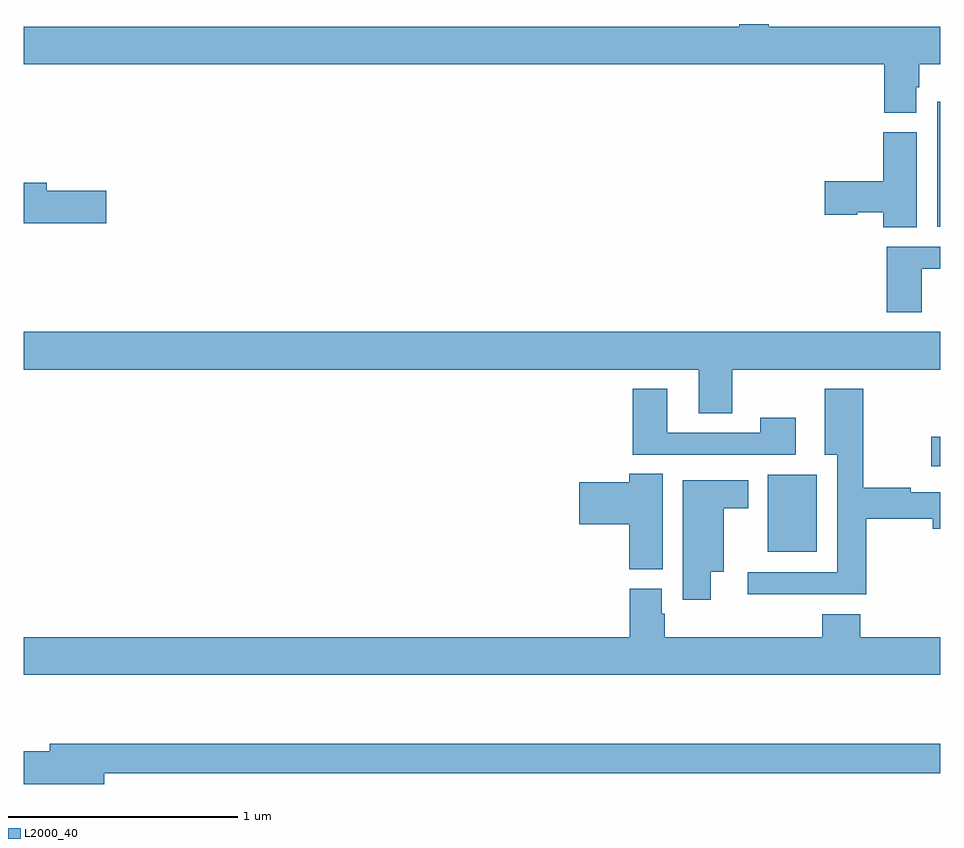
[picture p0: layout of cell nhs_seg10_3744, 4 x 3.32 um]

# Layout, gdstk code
import gdstk
lib = gdstk.Library(unit=1e-6, precision=1e-09)
def R(c, l, rs):  # rectangles x0, y0, x1, y1
    for r in rs: c.add(gdstk.rectangle(r[:2], r[2:], *l))
def P(c, l, *ps):  # polygons
    for p in ps: c.add(gdstk.Polygon(p, *l))
L2000_40 = (2000, 40)

nhs_seg10_3744 = lib.new_cell('nhs_seg10_3744')
R(nhs_seg10_3744, L2000_40, [(318.248,1290.197,318.46,1290.532), (318.96,1290.569,319,1290.699), (318.986,1291.616,319,1292.161)])
P(nhs_seg10_3744, L2000_40, [(318.895,1292.223),(318.908,1292.223),(318.908,1292.324),(319,1292.324),(319,1292.488),(318.251,1292.488),(318.251,1292.5),(318.123,1292.5),(318.123,1292.488),(315,1292.488),(315,1292.324),(318.755,1292.324),(318.755,1292.113),(318.895,1292.113)],
  [(318.898,1292.028),(318.752,1292.028),(318.752,1291.814),(318.495,1291.814),(318.495,1291.667),(318.638,1291.667),(318.638,1291.679),(318.752,1291.679),(318.752,1291.612),(318.898,1291.612)],
  [(315.361,1291.772),(315.1,1291.772),(315.1,1291.808),(315,1291.808),(315,1291.63),(315.361,1291.63)],
  [(318.919,1291.431),(319,1291.431),(319,1291.527),(318.767,1291.527),(318.767,1291.242),(318.919,1291.242)],
  [(318.093,1290.992),(319,1290.992),(319,1291.156),(315,1291.156),(315,1290.992),(317.945,1290.992),(317.945,1290.802),(318.093,1290.802)],
  [(318.37,1290.781),(318.214,1290.781),(318.214,1290.717),(317.809,1290.717),(317.809,1290.907),(317.657,1290.907),(317.657,1290.621),(318.37,1290.621)],
  [(318.677,1290.34),(318.968,1290.34),(318.968,1290.298),(319,1290.298),(319,1290.456),(318.872,1290.456),(318.872,1290.476),(318.664,1290.476),(318.664,1290.907),(318.497,1290.907),(318.497,1290.62),(318.551,1290.62),(318.551,1290.108),(318.159,1290.108),(318.159,1290.011),(318.677,1290.011)],
  [(317.788,1290.536),(317.642,1290.536),(317.642,1290.5),(317.424,1290.5),(317.424,1290.317),(317.642,1290.317),(317.642,1290.121),(317.788,1290.121)],
  [(317.998,1290.11),(318.055,1290.11),(318.055,1290.386),(318.163,1290.386),(318.163,1290.508),(317.876,1290.508),(317.876,1289.988),(317.998,1289.988)],
  [(319,1289.824),(318.65,1289.824),(318.65,1289.923),(318.485,1289.923),(318.485,1289.824),(317.798,1289.824),(317.798,1289.925),(317.785,1289.925),(317.785,1290.036),(317.645,1290.036),(317.645,1289.824),(315,1289.824),(315,1289.66),(319,1289.66)],
  [(315.352,1289.23),(319,1289.23),(319,1289.359),(315.113,1289.359),(315.113,1289.325),(315,1289.325),(315,1289.183),(315.352,1289.183)])

lib.write_gds('nhs_seg10_3744.gds')
